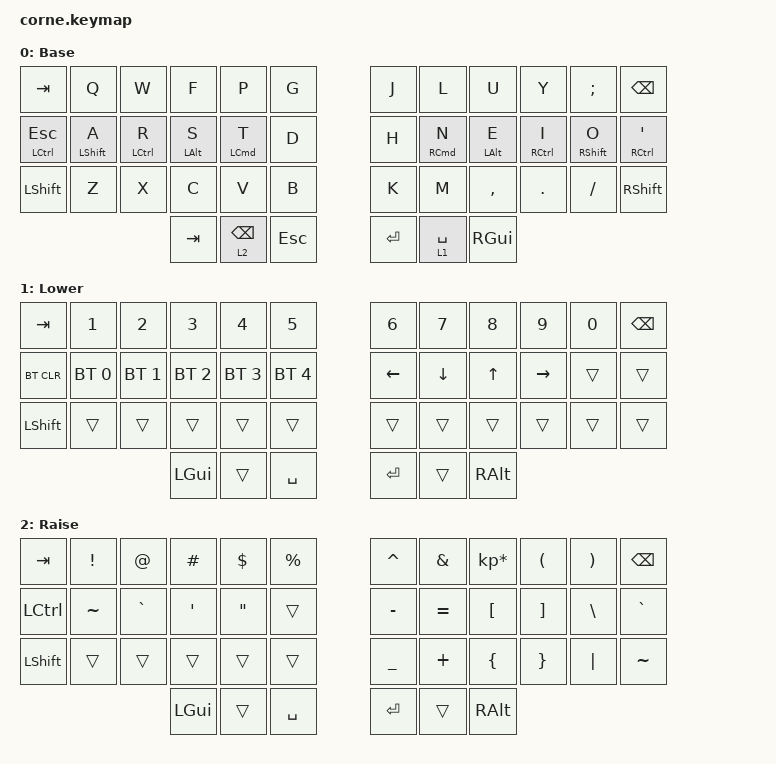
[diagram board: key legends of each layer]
/*
 * Copyright (c) 2020 The ZMK Contributors
 *
 * SPDX-License-Identifier: MIT
 */

#include <behaviors.dtsi>
#include <dt-bindings/zmk/bt.h>
#include <dt-bindings/zmk/keys.h>

/ {
    behaviors {
        hm: homerow_mods {
            compatible = "zmk,behavior-hold-tap";
            label = "HOMEROW_MODS";
            bindings = <&kp>, <&kp>;

            #binding-cells = <2>;
            tapping-term-ms = <200>;
            flavor = "tap-preferred";
        };
    };

    keymap {
        compatible = "zmk,keymap";

        default_layer {
            // -----------------------------------------------------------------------------------------
            // |  TAB |  Q  |  W  |  E  |  R  |  T  |   |  Y  |  U   |  I  |  O  |  P  | BKSP |
            // | CTRL |  A  |  S  |  D  |  F  |  G  |   |  H  |  J   |  K  |  L  |  ;  |  '   |
            // | SHFT |  Z  |  X  |  C  |  V  |  B  |   |  N  |  M   |  ,  |  .  |  /  | ESC  |
            //                    | GUI | LWR | SPC |   | ENT | RSE  | ALT |

            label = "Base";
            bindings = <
&kp TAB               &kp Q             &kp W               &kp F           &kp P               &kp G      &kp J    &kp L                &kp U           &kp Y                &kp SEMI           &kp BSPC
&mt LEFT_CONTROL ESC  &hm LEFT_SHIFT A  &hm LEFT_CONTROL R  &hm LEFT_ALT S  &hm LEFT_COMMAND T  &kp D      &kp H    &hm RIGHT_COMMAND N  &hm LEFT_ALT E  &hm RIGHT_CONTROL I  &hm RIGHT_SHIFT O  &mt RCTRL SQT
&kp LSHFT             &kp Z             &kp X               &kp C           &kp V               &kp B      &kp K    &kp M                &kp COMMA       &kp DOT              &kp FSLH           &kp RIGHT_SHIFT
                                                            &kp TAB         &lt 2 BACKSPACE     &kp ESC    &kp RET  &lt 1 SPACE          &kp RIGHT_GUI
            >;
        };

        lower_layer {
            // -----------------------------------------------------------------------------------------
            // |  TAB |  1  |  2  |  3  |  4  |  5  |   |  6  |  7  |  8  |  9  |  0  | BKSP |
            // | BTCLR| BT1 | BT2 | BT3 | BT4 | BT5 |   | LFT | DWN |  UP | RGT |     |      |
            // | SHFT |     |     |     |     |     |   |     |     |     |     |     |      |
            //                    | GUI |     | SPC |   | ENT |     | ALT |

            label = "Lower";
            bindings = <
&kp TAB     &kp N1        &kp N2        &kp N3        &kp N4        &kp N5          &kp N6    &kp N7    &kp N8    &kp N9     &kp N0  &kp BSPC
&bt BT_CLR  &bt BT_SEL 0  &bt BT_SEL 1  &bt BT_SEL 2  &bt BT_SEL 3  &bt BT_SEL 4    &kp LEFT  &kp DOWN  &kp UP    &kp RIGHT  &trans  &trans
&kp LSHFT   &trans        &trans        &trans        &trans        &trans          &trans    &trans    &trans    &trans     &trans  &trans
                                        &kp LGUI      &trans        &kp SPACE       &kp RET   &trans    &kp RALT
            >;
        };

        raise_layer {
            // -----------------------------------------------------------------------------------------
            // |  TAB |  !  |  @  |  #  |  $  |  %  |   |  ^  |  &  |  *  |  (  |  )  | BKSP |
            // | CTRL |     |     |     |     |     |   |  -  |  =  |  [  |  ]  |  \  |  `   |
            // | SHFT |     |     |     |     |     |   |  _  |  +  |  {  |  }  | "|" |  ~   |
            //                    | GUI |     | SPC |   | ENT |     | ALT |

            label = "Raise";
            bindings = <
&kp TAB    &kp EXCL   &kp AT     &kp HASH          &kp DLLR           &kp PRCNT    &kp CARET  &kp AMPS   &kp KP_MULTIPLY  &kp LPAR  &kp RPAR  &kp BSPC
&kp LCTRL  &kp TILDE  &kp GRAVE  &kp SINGLE_QUOTE  &kp DOUBLE_QUOTES  &trans       &kp MINUS  &kp EQUAL  &kp LBKT         &kp RBKT  &kp BSLH  &kp GRAVE
&kp LSHFT  &trans     &trans     &trans            &trans             &trans       &kp UNDER  &kp PLUS   &kp LBRC         &kp RBRC  &kp PIPE  &kp TILDE
                                 &kp LGUI          &trans             &kp SPACE    &kp RET    &trans     &kp RALT
            >;
        };
    };
};
